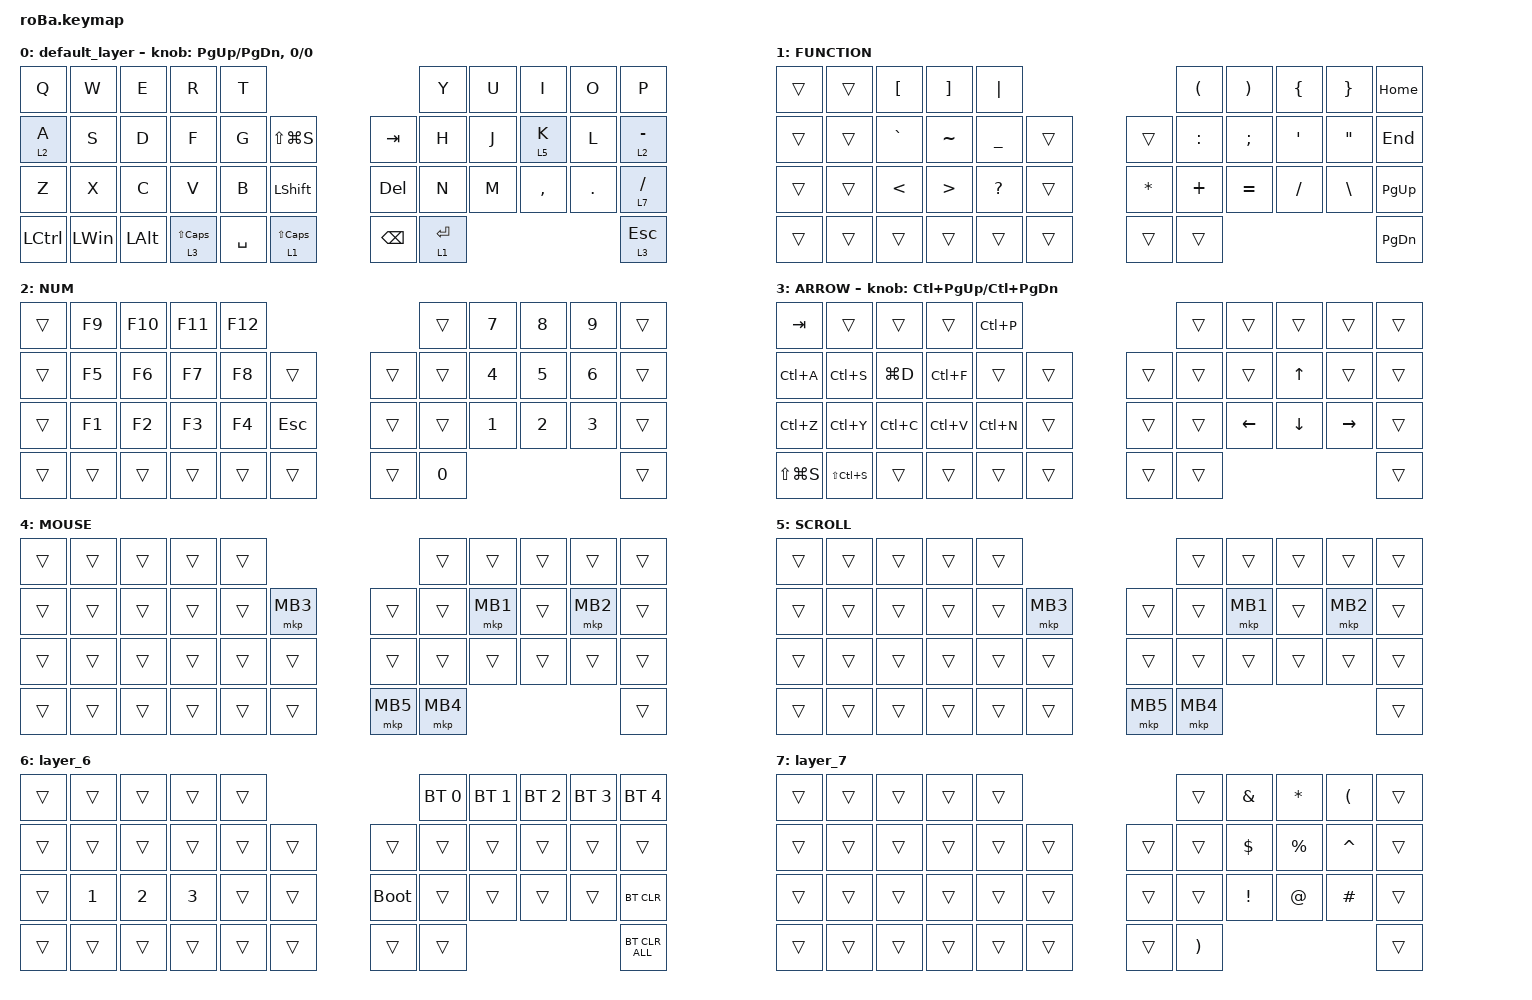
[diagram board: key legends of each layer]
#include <dt-bindings/zmk/mouse.h>
#include <behaviors.dtsi>
#include <dt-bindings/zmk/bt.h>
#include <dt-bindings/zmk/keys.h>
#include <dt-bindings/zmk/pointing.h>

#define MOUSE 4
#define SCROLL 5
#define NUM 6

&mt {
    flavor = "balanced";
    quick-tap-ms = <0>;
};

/ {
    combos {
        compatible = "zmk,combos";

        tab {
            bindings = <&kp TAB>;
            key-positions = <11 12>;
        };

        shift_tab {
            bindings = <&kp LS(TAB)>;
            key-positions = <12 13>;
        };

        muhennkann {
            bindings = <&to_layer_0 INT_MUHENKAN>;
            key-positions = <11 10>;
        };

        double_quotation {
            bindings = <&kp DOUBLE_QUOTES>;
            key-positions = <20 21>;
        };

        eq {
            bindings = <&kp EQUAL>;
            key-positions = <24 25>;
        };
    };

    macros {
        to_layer_0: to_layer_0 {
            compatible = "zmk,behavior-macro-one-param";
            #binding-cells = <1>;
            bindings = <&to 0 &macro_param_1to1 &kp MACRO_PLACEHOLDER>;
            label = "TO_LAYER_0";
        };
    };

    behaviors {
        lt_to_layer_0: lt_to_layer_0 {
            compatible = "zmk,behavior-hold-tap";
            label = "LAYER_TAP_TO_0";
            bindings = <&mo>, <&to_layer_0>;

            #binding-cells = <2>;
            tapping-term-ms = <200>;
        };
    };

    keymap {
        compatible = "zmk,keymap";

        default_layer {
            bindings = <
&kp Q      &kp W         &kp E         &kp R                      &kp T                                                  &kp Y        &kp U  &kp I      &kp O    &kp P
&lt 2 A    &kp S         &kp D         &kp F                      &kp G      &kp LS(LG(S))                &kp TAB        &kp H        &kp J  &lt 5 K    &kp L    &lt 2 MINUS
&kp Z      &kp X         &kp C         &kp V                      &kp B      &kp LEFT_SHIFT               &kp DEL        &kp N        &kp M  &kp COMMA  &kp DOT  &lt 7 SLASH
&kp LCTRL  &kp LEFT_WIN  &kp LEFT_ALT  &lt_to_layer_0 3 LS(CAPS)  &kp SPACE  &lt_to_layer_0 1 LS(CAPS)    &kp BACKSPACE  &lt 1 ENTER                             &lt 3 ESC
            >;

            sensor-bindings = <&inc_dec_kp PG_UP PAGE_DOWN>, <&inc_dec_kp 0 0>;
        };

        FUNCTION {
            bindings = <
&trans  &trans  &kp LEFT_BRACKET  &kp RIGHT_BRACKET  &kp PIPE                              &kp LEFT_PARENTHESIS  &kp RIGHT_PARENTHESIS  &kp LEFT_BRACE  &kp RIGHT_BRACE    &kp HOME
&trans  &trans  &kp GRAVE         &kp TILDE          &kp UNDER     &trans    &trans        &kp COLON             &kp SEMICOLON          &kp SQT         &kp DOUBLE_QUOTES  &kp END
&trans  &trans  &kp LESS_THAN     &kp GREATER_THAN   &kp QUESTION  &trans    &kp ASTERISK  &kp PLUS              &kp EQUAL              &kp SLASH       &kp BACKSLASH      &kp PAGE_UP
&trans  &trans  &trans            &trans             &trans        &trans    &trans        &trans                                                                          &kp PAGE_DOWN
            >;
        };

        NUM {
            bindings = <
&trans  &kp F9  &kp F10  &kp F11  &kp F12                     &trans  &kp N7  &kp N8  &kp N9  &trans
&trans  &kp F5  &kp F6   &kp F7   &kp F8   &trans     &trans  &trans  &kp N4  &kp N5  &kp N6  &trans
&trans  &kp F1  &kp F2   &kp F3   &kp F4   &kp ESC    &trans  &trans  &kp N1  &kp N2  &kp N3  &trans
&trans  &trans  &trans   &trans   &trans   &trans     &trans  &kp N0                          &trans
            >;
        };

        ARROW {
            bindings = <
&kp TAB        &trans         &trans     &trans     &kp LC(P)                    &trans  &trans          &trans          &trans           &trans
&kp LC(A)      &kp LC(S)      &kp LG(D)  &kp LC(F)  &trans     &trans    &trans  &trans  &trans          &kp UP_ARROW    &trans           &trans
&kp LC(Z)      &kp LC(Y)      &kp LC(C)  &kp LC(V)  &kp LC(N)  &trans    &trans  &trans  &kp LEFT_ARROW  &kp DOWN_ARROW  &kp RIGHT_ARROW  &trans
&kp LS(LG(S))  &kp LS(LC(S))  &trans     &trans     &trans     &trans    &trans  &trans                                                   &trans
            >;

            sensor-bindings = <&inc_dec_kp LC(PAGE_UP) LC(PAGE_DOWN)>;
        };

        MOUSE {
            bindings = <
&trans  &trans  &trans  &trans  &trans                        &trans    &trans    &trans  &trans    &trans
&trans  &trans  &trans  &trans  &trans  &mkp MB3    &trans    &trans    &mkp MB1  &trans  &mkp MB2  &trans
&trans  &trans  &trans  &trans  &trans  &trans      &trans    &trans    &trans    &trans  &trans    &trans
&trans  &trans  &trans  &trans  &trans  &trans      &mkp MB5  &mkp MB4                              &trans
            >;
        };

        SCROLL {
            bindings = <
&trans  &trans  &trans  &trans  &trans                        &trans    &trans    &trans  &trans    &trans
&trans  &trans  &trans  &trans  &trans  &mkp MB3    &trans    &trans    &mkp MB1  &trans  &mkp MB2  &trans
&trans  &trans  &trans  &trans  &trans  &trans      &trans    &trans    &trans    &trans  &trans    &trans
&trans  &trans  &trans  &trans  &trans  &trans      &mkp MB5  &mkp MB4                              &trans
            >;
        };

        layer_6 {
            bindings = <
&trans  &trans  &trans  &trans  &trans                         &bt BT_SEL 0  &bt BT_SEL 1  &bt BT_SEL 2  &bt BT_SEL 3  &bt BT_SEL 4
&trans  &trans  &trans  &trans  &trans  &trans    &trans       &trans        &trans        &trans        &trans        &trans
&trans  &kp N1  &kp N2  &kp N3  &trans  &trans    &bootloader  &trans        &trans        &trans        &trans        &bt BT_CLR
&trans  &trans  &trans  &trans  &trans  &trans    &trans       &trans                                                  &bt BT_CLR_ALL
            >;
        };

        layer_7 {
            bindings = <
&trans  &trans  &trans  &trans  &trans                    &trans                 &kp AMPERSAND  &kp ASTERISK  &kp LEFT_PARENTHESIS  &trans
&trans  &trans  &trans  &trans  &trans  &trans    &trans  &trans                 &kp DOLLAR     &kp PERCENT   &kp CARET             &trans
&trans  &trans  &trans  &trans  &trans  &trans    &trans  &trans                 &kp EXCL       &kp AT        &kp HASH              &trans
&trans  &trans  &trans  &trans  &trans  &trans    &trans  &kp RIGHT_PARENTHESIS                                                     &trans
            >;
        };
    };
};
